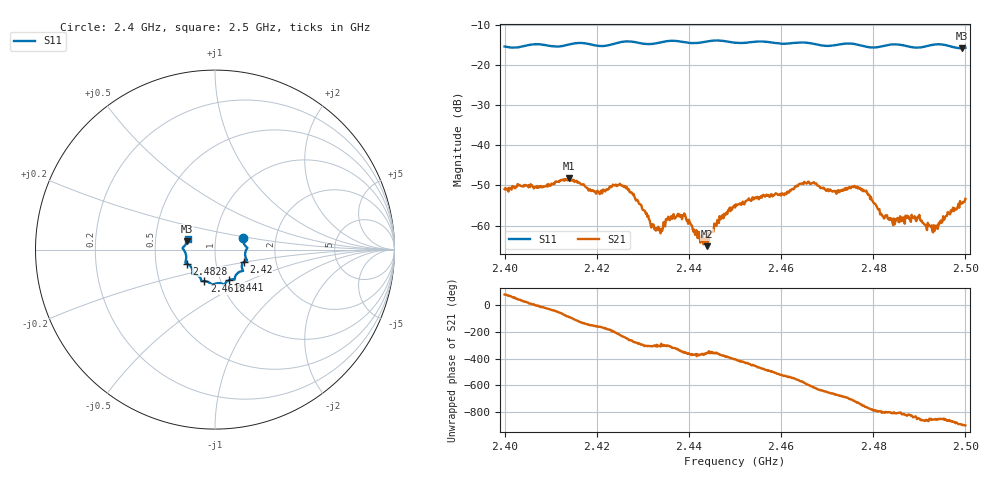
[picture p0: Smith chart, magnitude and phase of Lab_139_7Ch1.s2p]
# Hz S RI R 50
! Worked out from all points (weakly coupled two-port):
!   601 points, 2.4 GHz to 2.5 GHz, reference 50 ohm
!   highest |S21| = -48.15 dB at 2.414 GHz (marker M1); lowest = -65.1 dB at 2.444 GHz (marker M2)
!   lowest |S11| = -15.8 dB at 2.4992 GHz (marker M3), VSWR 1.39, Z = 36.5 + j3.66 ohm
!   |S11| at or under -10 dB: start of sweep to end of sweep
!   S12 and S22 are empty: the file has one direction only
!   S11 on the Smith chart (normalised r, x): 2.4 GHz: 1.36, +0.18; 2.42 GHz: 1.36, -0.20; 2.441 GHz: 1.10, -0.39; 2.4618 GHz: 0.84, -0.31; 2.4828 GHz: 0.72, -0.12; 2.5 GHz: 0.73, +0.09
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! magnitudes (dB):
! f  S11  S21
! 2.4 GHz  -15.4  -50.9
! 2.414 GHz  -14.9  -48.2
! 2.4167 GHz  -14.5  -49.8
! 2.42 GHz  -15.2  -51.8
! 2.426 GHz  -14.2  -50.4
! 2.4333 GHz  -14.5  -60.3
! 2.4378 GHz  -14.1  -57.7
! 2.4392 GHz  -14.4  -57.4
! 2.441 GHz  -14.6  -61.6
! 2.444 GHz  -14.1  -65.1
! 2.4467 GHz  -13.9  -57.6
! 2.45 GHz  -14.5  -55.5
! 2.4618 GHz  -14.6  -51.3
! 2.4667 GHz  -14.6  -49.5
! 2.4717 GHz  -15.1  -51.5
! 2.477 GHz  -15.0  -50.8
! 2.4828 GHz  -15.1  -57.4
! 2.4833 GHz  -15.0  -58.2
! 2.4895 GHz  -15.7  -58.3
! 2.4933 GHz  -14.9  -61.3
! 2.4992 GHz  -15.8  -54.5
! 2.5 GHz  -15.7  -53.3
